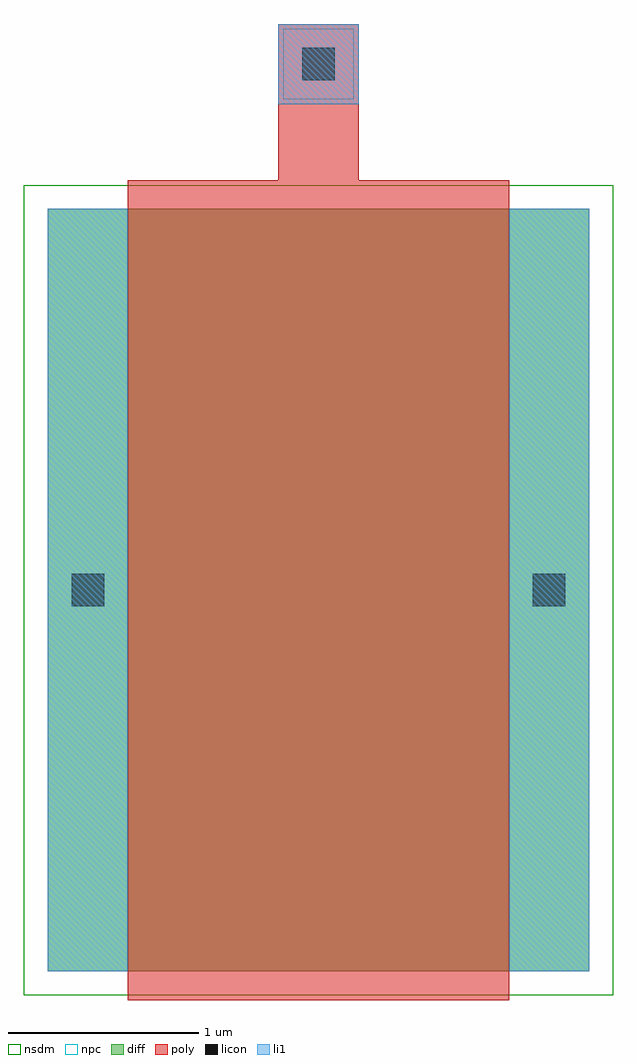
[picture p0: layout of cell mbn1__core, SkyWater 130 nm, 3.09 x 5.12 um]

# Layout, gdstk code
import gdstk
lib = gdstk.Library(unit=1e-6, precision=1e-09)
def R(c, l, rs):  # rectangles x0, y0, x1, y1
    for r in rs: c.add(gdstk.rectangle(r[:2], r[2:], *l))
diff = (65, 20)
poly = (66, 20)
licon = (66, 44)
li1 = (67, 20)
nsdm = (93, 44)
npc = (95, 20)

mbn1__core = lib.new_cell('mbn1__core')
R(mbn1__core, diff, [(0,0,2.84,4)])
R(mbn1__core, poly, [(0.42,-0.15,2.42,4), (0.42,4,2.42,4.15), (0.42,4,2.42,4.15), (1.21,4.15,1.63,4.97)])
R(mbn1__core, licon, [(0.125,1.915,0.295,2.085), (2.545,1.915,2.715,2.085), (1.335,4.675,1.505,4.845)])
R(mbn1__core, li1, [(0,0,0.42,4), (2.42,0,2.84,4), (1.21,4.55,1.63,4.97)])
R(mbn1__core, nsdm, [(-0.125,-0.125,2.965,4.125)])
R(mbn1__core, npc, [(1.235,4.575,1.605,4.945)])

lib.write_gds('mbn1__core.gds')
